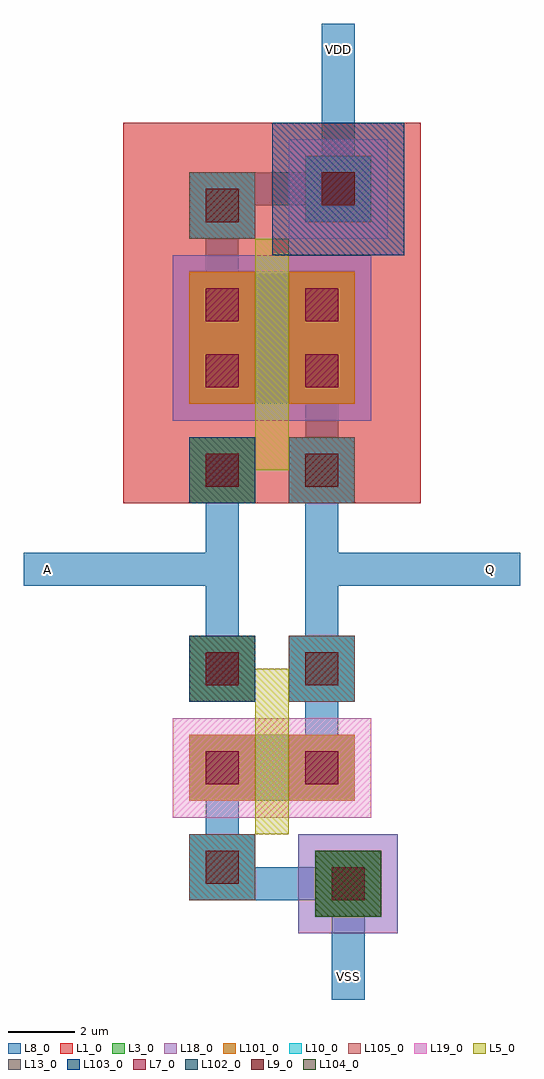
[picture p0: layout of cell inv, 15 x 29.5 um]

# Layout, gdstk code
import gdstk
lib = gdstk.Library(unit=1e-6, precision=1e-07)
def R(c, l, rs):  # rectangles x0, y0, x1, y1
    for r in rs: c.add(gdstk.rectangle(r[:2], r[2:], *l))
L1_0 = (1, 0)
L3_0 = (3, 0)
L5_0 = (5, 0)
L7_0 = (7, 0)
L8_0 = (8, 0)
L9_0 = (9, 0)
L10_0 = (10, 0)
L13_0 = (13, 0)
L18_0 = (18, 0)
L19_0 = (19, 0)
L101_0 = (101, 0)
L102_0 = (102, 0)
L103_0 = (103, 0)
L104_0 = (104, 0)
L105_0 = (105, 0)

dcont = lib.new_cell('dcont')
R(dcont, L3_0, [(-1,-1,1,1)])
R(dcont, L7_0, [(-0.5,-0.5,0.5,0.5)])
R(dcont, L8_0, [(-1,-1,1,1)])
R(dcont, L13_0, [(-0.5,-0.5,0.5,0.5)])
R(dcont, L101_0, [(-1,-1,1,1)])

pcont = lib.new_cell('pcont')
R(pcont, L5_0, [(-1,-1,1,1)])
R(pcont, L7_0, [(-0.5,-0.5,0.5,0.5)])
R(pcont, L8_0, [(-1,-1,1,1)])
R(pcont, L13_0, [(-0.5,-0.5,0.5,0.5)])
R(pcont, L102_0, [(-1,-1,1,1)])

via = lib.new_cell('Via')
R(via, L8_0, [(-1,-1,1,1)])
R(via, L9_0, [(-0.5,-0.5,0.5,0.5)])
R(via, L10_0, [(-1,-1,1,1)])
R(via, L13_0, [(-0.5,-0.5,0.5,0.5)])
R(via, L105_0, [(-1,-1,1,1)])

dcont1 = lib.new_cell('dcont1')
R(dcont1, L3_0, [(-1,-1,1,1)])
R(dcont1, L7_0, [(-0.5,-0.5,0.5,0.5)])
R(dcont1, L8_0, [(-1,-1,1,1)])
R(dcont1, L13_0, [(-0.5,-0.5,0.5,0.5)])
R(dcont1, L101_0, [(-1,-1,1,1)])

nsubcont = lib.new_cell('nsubcont')
R(nsubcont, L1_0, [(-2,-2,2,2)])
R(nsubcont, L19_0, [(-1.5,-1.5,1.5,1.5)])
R(nsubcont, L103_0, [(-2,-2,2,2)])
nsubcont.add(gdstk.Reference(dcont1, (0,0)))

pch_1 = lib.new_cell('Pch$1')
R(pch_1, L1_0, [(-2,0,7,11.5)])
R(pch_1, L3_0, [(0,3,5,7)])
R(pch_1, L18_0, [(-0.5,2.5,5.5,7.5)])
pch_1.add(gdstk.FlexPath([(1,3),(1,7)], 2, ends="flush", simple_path=True, layer=8, datatype=0))  # L8_0
pch_1.add(gdstk.FlexPath([(4,3),(4,7)], 2, ends="flush", simple_path=True, layer=8, datatype=0))  # L8_0
pch_1.add(gdstk.FlexPath([(1,6),(1,9)], 1, ends="flush", simple_path=True, layer=8, datatype=0))  # L8_0
pch_1.add(gdstk.FlexPath([(4,1),(4,4)], 1, ends="flush", simple_path=True, layer=8, datatype=0))  # L8_0
pch_1.add(gdstk.FlexPath([(2.5,3),(2.5,7)], 1, ends=(1, 1), simple_path=True, layer=5, datatype=0))  # L5_0
pch_1.add(gdstk.FlexPath([(1,1.5),(2.5,1.5),(2.5,2)], 1, ends="flush", simple_path=True, layer=5, datatype=0))  # L5_0
pch_1.add(gdstk.Reference(dcont, (1,4)))
pch_1.add(gdstk.Reference(dcont, (1,6)))
pch_1.add(gdstk.Reference(dcont, (4,4)))
pch_1.add(gdstk.Reference(dcont, (4,6)))
pch_1.add(gdstk.Reference(pcont, (1,1)))
pch_1.add(gdstk.Reference(via, (1,1)))
pch_1.add(gdstk.Reference(via, (1,9)))
pch_1.add(gdstk.Reference(via, (4,1)))
pch_1.add(gdstk.Reference(nsubcont, (4.5,9.5)))
pch_1.add(gdstk.Reference(via, (4.5,9.5)))

dcont_1 = lib.new_cell('dcont$1')
R(dcont_1, L3_0, [(-1,-1,1,1)])
R(dcont_1, L7_0, [(-0.5,-0.5,0.5,0.5)])
R(dcont_1, L8_0, [(-1,-1,1,1)])
R(dcont_1, L13_0, [(-0.5,-0.5,0.5,0.5)])
R(dcont_1, L101_0, [(-1,-1,1,1)])

pcont_1 = lib.new_cell('pcont$1')
R(pcont_1, L5_0, [(-1,-1,1,1)])
R(pcont_1, L7_0, [(-0.5,-0.5,0.5,0.5)])
R(pcont_1, L8_0, [(-1,-1,1,1)])
R(pcont_1, L13_0, [(-0.5,-0.5,0.5,0.5)])
R(pcont_1, L102_0, [(-1,-1,1,1)])

via_1 = lib.new_cell('Via$1')
R(via_1, L8_0, [(-1,-1,1,1)])
R(via_1, L9_0, [(-0.5,-0.5,0.5,0.5)])
R(via_1, L10_0, [(-1,-1,1,1)])
R(via_1, L13_0, [(-0.5,-0.5,0.5,0.5)])
R(via_1, L105_0, [(-1,-1,1,1)])

dcont1_1 = lib.new_cell('dcont1$1')
R(dcont1_1, L3_0, [(-1,-1,1,1)])
R(dcont1_1, L7_0, [(-0.5,-0.5,0.5,0.5)])
R(dcont1_1, L8_0, [(-1,-1,1,1)])
R(dcont1_1, L13_0, [(-0.5,-0.5,0.5,0.5)])
R(dcont1_1, L101_0, [(-1,-1,1,1)])

psubcont = lib.new_cell('psubcont')
R(psubcont, L18_0, [(-1.5,-1.5,1.5,1.5)])
R(psubcont, L104_0, [(-1,-1,1,1)])
psubcont.add(gdstk.Reference(dcont1_1, (0,0)))

nch = lib.new_cell('Nch')
R(nch, L3_0, [(0,3,5,5)])
R(nch, L19_0, [(-0.5,2.5,5.5,5.5)])
nch.add(gdstk.FlexPath([(1,3),(1,5)], 2, ends="flush", simple_path=True, layer=8, datatype=0))  # L8_0
nch.add(gdstk.FlexPath([(4,3),(4,5)], 2, ends="flush", simple_path=True, layer=8, datatype=0))  # L8_0
nch.add(gdstk.FlexPath([(1,1),(1,4)], 1, ends="flush", simple_path=True, layer=8, datatype=0))  # L8_0
nch.add(gdstk.FlexPath([(4,4),(4,7)], 1, ends="flush", simple_path=True, layer=8, datatype=0))  # L8_0
nch.add(gdstk.FlexPath([(2.5,3),(2.5,5)], 1, ends=(1, 1), simple_path=True, layer=5, datatype=0))  # L5_0
nch.add(gdstk.FlexPath([(1,6.5),(2.5,6.5),(2.5,6)], 1, ends="flush", simple_path=True, layer=5, datatype=0))  # L5_0
nch.add(gdstk.Reference(dcont_1, (1,4)))
nch.add(gdstk.Reference(dcont_1, (4,4)))
nch.add(gdstk.Reference(pcont_1, (1,7)))
nch.add(gdstk.Reference(via_1, (1,7)))
nch.add(gdstk.Reference(via_1, (1,1)))
nch.add(gdstk.Reference(via_1, (4,7)))
nch.add(gdstk.Reference(psubcont, (4.8,0.5)))
nch.add(gdstk.Reference(via_1, (4.8,0.5)))

inv = lib.new_cell('inv')
inv.add(gdstk.FlexPath([(3.5,2),(3.5,-4),(3.5,-4)], 1, ends="flush", simple_path=True, layer=8, datatype=0))  # L8_0
inv.add(gdstk.FlexPath([(0.5,2),(0.5,-4)], 1, ends="flush", simple_path=True, layer=8, datatype=0))  # L8_0
inv.add(gdstk.FlexPath([(3.5,-1),(9.5,-1)], 1, ends="flush", simple_path=True, layer=8, datatype=0))  # L8_0
inv.add(gdstk.FlexPath([(0.5,-1),(-5.5,-1)], 1, ends="flush", simple_path=True, layer=8, datatype=0))  # L8_0
inv.add(gdstk.FlexPath([(0.5,-10),(0.5,-10.5),(4.5,-10.5),(4.5,-10.5)], 1, ends="flush", simple_path=True, layer=8, datatype=0))  # L8_0
inv.add(gdstk.FlexPath([(0.5,10),(0.5,10.5),(4,10.5)], 1, ends="flush", simple_path=True, layer=8, datatype=0))  # L8_0
inv.add(gdstk.FlexPath([(4,10.5),(4,15.5)], 1, ends="flush", simple_path=True, layer=8, datatype=0))  # L8_0
inv.add(gdstk.FlexPath([(4.3,-10.5),(4.3,-14)], 1, ends="flush", simple_path=True, layer=8, datatype=0))  # L8_0
inv.add(gdstk.Reference(pch_1, (-0.5,1)))
inv.add(gdstk.Reference(nch, (-0.5,-11)))
inv.add(gdstk.Label('VDD', (4,14.7), layer=8, texttype=0))
inv.add(gdstk.Label('A', (-4.8,-1), layer=8, texttype=0))
inv.add(gdstk.Label('Q', (8.6,-1), layer=8, texttype=0))
inv.add(gdstk.Label('VSS', (4.3,-13.3), layer=8, texttype=0))

lib.write_gds('inv.gds')
